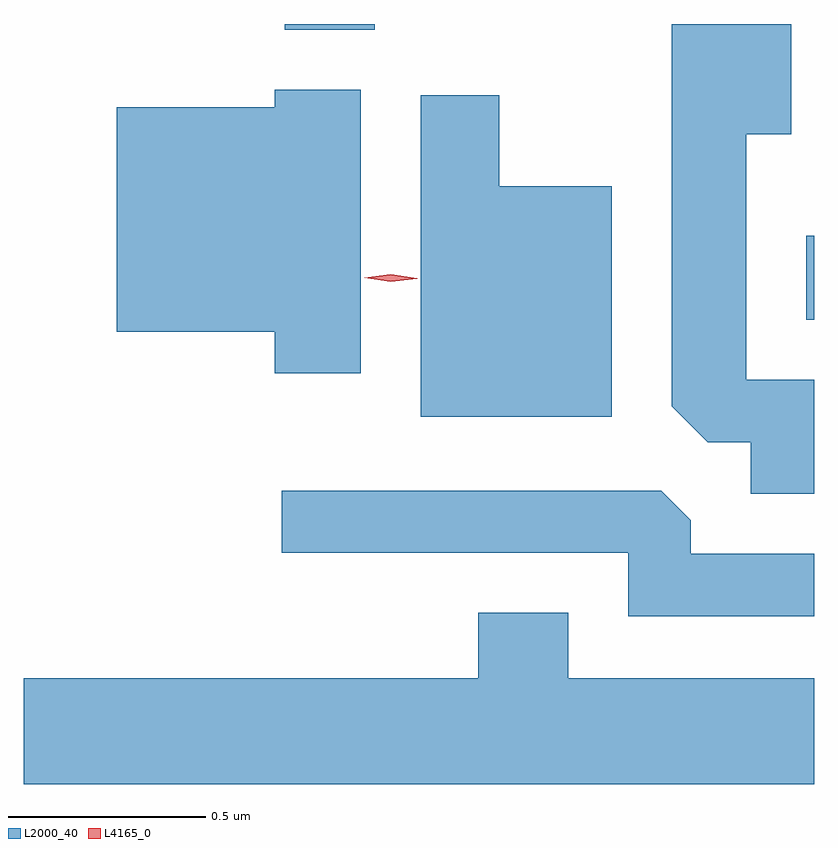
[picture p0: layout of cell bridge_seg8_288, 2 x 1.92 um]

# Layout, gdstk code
import gdstk
lib = gdstk.Library(unit=1e-6, precision=1e-09)
def R(c, l, rs):  # rectangles x0, y0, x1, y1
    for r in rs: c.add(gdstk.rectangle(r[:2], r[2:], *l))
def P(c, l, *ps):  # polygons
    for p in ps: c.add(gdstk.Polygon(p, *l))
L2000_40 = (2000, 40)
L4165_0 = (4165, 0)

bridge_seg8_288 = lib.new_cell('bridge_seg8_288')
R(bridge_seg8_288, L2000_40, [(1341.441,1842.031,1341.461,1842.244), (1340.121,1842.766,1340.349,1842.78)])
P(bridge_seg8_288, L2000_40, [(1341.461,1841.879),(1341.289,1841.879),(1341.289,1842.501),(1341.404,1842.501),(1341.404,1842.78),(1341.101,1842.78),(1341.101,1841.812),(1341.192,1841.721),(1341.301,1841.721),(1341.301,1841.591),(1341.461,1841.591)],
  [(1340.314,1842.614),(1340.096,1842.614),(1340.096,1842.569),(1339.696,1842.569),(1339.696,1842.001),(1340.096,1842.001),(1340.096,1841.896),(1340.314,1841.896)],
  [(1340.949,1842.369),(1340.664,1842.369),(1340.664,1842.599),(1340.466,1842.599),(1340.466,1841.786),(1340.949,1841.786)],
  [(1341.461,1841.439),(1341.149,1841.439),(1341.149,1841.524),(1341.074,1841.599),(1340.113,1841.599),(1340.113,1841.441),(1340.991,1841.441),(1340.991,1841.281),(1341.461,1841.281)],
  [(1341.461,1841.124),(1340.839,1841.124),(1340.839,1841.289),(1340.611,1841.289),(1340.611,1841.124),(1339.461,1841.124),(1339.461,1840.856),(1341.461,1840.856)])
P(bridge_seg8_288, L4165_0, [(1340.389,1842.127),(1340.323,1842.137),(1340.323,1842.138),(1340.323,1842.138),(1340.39,1842.147),(1340.456,1842.136),(1340.456,1842.136),(1340.456,1842.135)])

lib.write_gds('bridge_seg8_288.gds')
